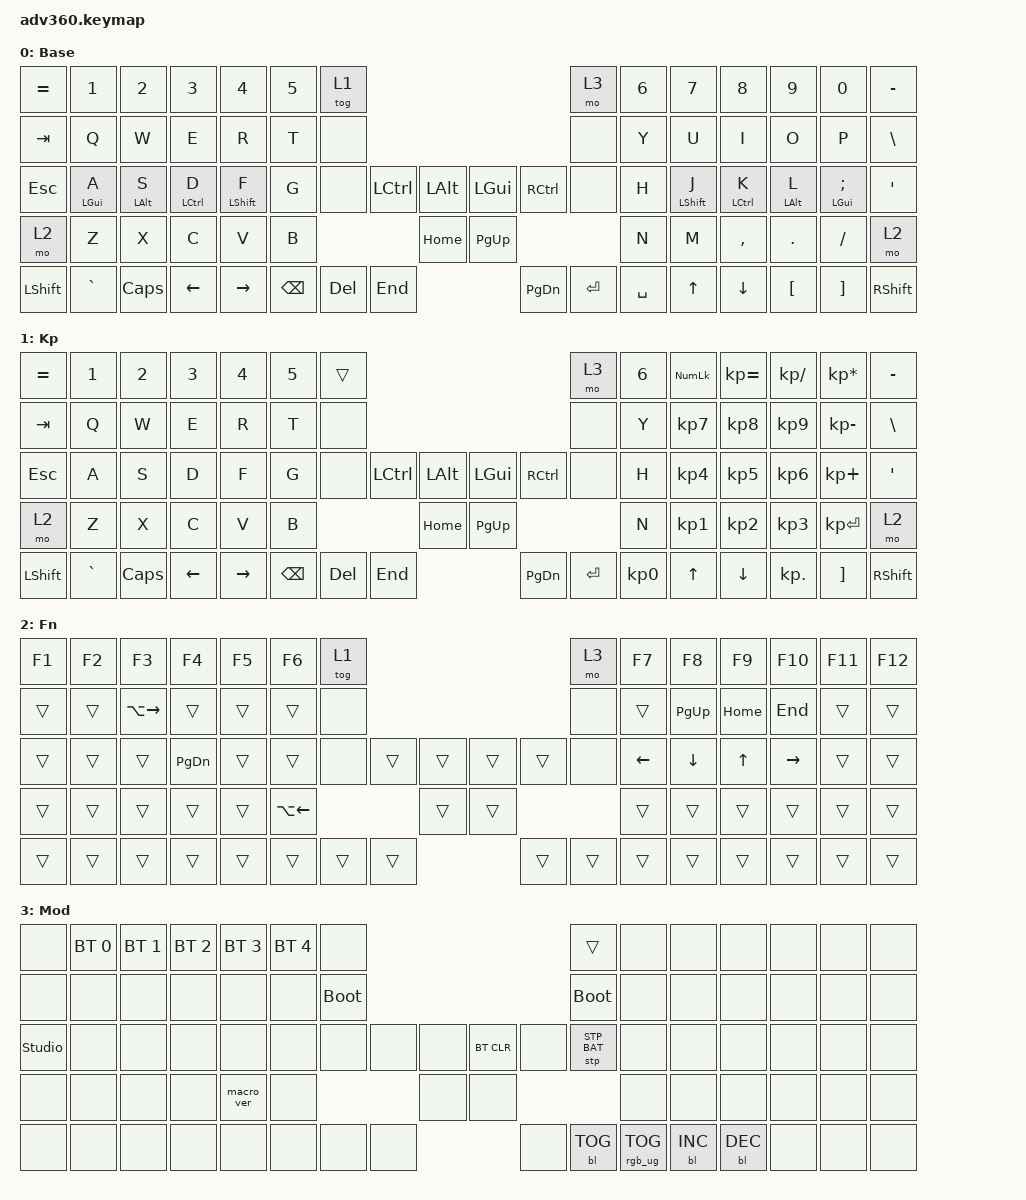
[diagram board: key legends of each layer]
#include <behaviors.dtsi>
#include <dt-bindings/zmk/keys.h>
#include <dt-bindings/zmk/bt.h>
#include <dt-bindings/zmk/rgb.h>
#include <dt-bindings/zmk/stp.h>
#include <dt-bindings/zmk/backlight.h>
#include <dt-bindings/zmk/pointing.h>

/ {
    behaviors {
      #include "macros.dtsi"
      #include "version.dtsi"

      hml: homerow_mods_left {
          compatible = "zmk,behavior-hold-tap";
          label = "HOMEROW_MODS_LEFT";
          #binding-cells = <2>;
          tapping-term-ms = <280>;
          quick-tap-ms = <175>;
          require-prior-idle-ms = <125>;
          flavor = "balanced";
          hold-trigger-key-positions = <7 8 9 10 11 12 13 21 22 23 24 25 26 27 37 38 39 40 41 42 43 44 45 53 54 55 56 57 58 59 68 69 70 71 72 73 74 75>;
          hold-trigger-on-release;
          bindings = <&kp>, <&kp>;
      };

      hmr: homerow_mods_right {
          compatible = "zmk,behavior-hold-tap";
          label = "HOMEROW_MODS_RIGHT";
          #binding-cells = <2>;
          tapping-term-ms = <280>;
          quick-tap-ms = <175>;
          require-prior-idle-ms = <125>;
          flavor = "balanced";
          hold-trigger-key-positions = <0 1 2 3 4 5 6 14 15 16 17 18 19 20 28 29 30 31 32 33 34 35 36 46 47 48 49 50 51 52 60 61 62 63 64 65 66 67>;
          hold-trigger-on-release;
          bindings = <&kp>, <&kp>;
      };
    };

  keymap {
    compatible = "zmk,keymap";

    default_layer {
      display-name = "Base";
      bindings = <
        &kp EQUAL &kp N1    &kp N2   &kp N3   &kp N4     &kp N5 &tog 1                                                           &mo 3 &kp N6 &kp N7 &kp N8    &kp N9   &kp N0   &kp MINUS
        &kp TAB   &kp Q     &kp W    &kp E    &kp R      &kp T  &none                                                            &none &kp Y  &kp U  &kp I     &kp O    &kp P    &kp BSLH
        &kp ESC   &hml LGUI A &hml LALT S &hml LCTRL D &hml LSHIFT F &kp G  &none           &kp LCTRL &kp LALT &kp LGUI  &kp RCTRL           &none &kp H  &hmr LSHIFT J &hmr LCTRL K &hmr LALT L &hmr LGUI SEMI &kp SQT
        &mo 2     &kp Z     &kp X    &kp C    &kp V      &kp B                            &kp HOME &kp PG_UP                           &kp N  &kp M  &kp COMMA &kp DOT  &kp FSLH &mo 2
        &kp LSHFT &kp GRAVE &kp CAPS &kp LEFT &kp RIGHT                &kp BSPC &kp DEL   &kp END  &kp PG_DN &kp ENTER &kp SPACE              &kp UP &kp DOWN  &kp LBKT &kp RBKT &kp RSHFT
      >;
    };
    keypad {
      display-name = "Kp";
      bindings = <
        &kp EQUAL &kp N1    &kp N2   &kp N3   &kp N4     &kp N5 &trans                                                           &mo 3 &kp N6 &kp KP_NUM &kp KP_EQUAL &kp KP_DIVIDE &kp KP_MULTIPLY &kp MINUS
        &kp TAB   &kp Q     &kp W    &kp E    &kp R      &kp T  &none                                                            &none &kp Y  &kp KP_N7  &kp KP_N8    &kp KP_N9     &kp KP_MINUS    &kp BSLH
        &kp ESC   &kp A     &kp S    &kp D    &kp F      &kp G  &none           &kp LCTRL &kp LALT &kp LGUI  &kp RCTRL           &none &kp H  &kp KP_N4  &kp KP_N5    &kp KP_N6     &kp KP_PLUS     &kp SQT
        &mo 2     &kp Z     &kp X    &kp C    &kp V      &kp B                            &kp HOME &kp PG_UP                           &kp N  &kp KP_N1  &kp KP_N2    &kp KP_N3     &kp KP_ENTER    &mo 2
        &kp LSHFT &kp GRAVE &kp CAPS &kp LEFT &kp RIGHT                &kp BSPC &kp DEL   &kp END  &kp PG_DN &kp ENTER &kp KP_N0              &kp UP     &kp DOWN     &kp KP_DOT    &kp RBKT        &kp RSHFT
      >;
    };
    fn {
      display-name = "Fn";
      bindings = <
        &kp F1 &kp F2 &kp F3 &kp F4 &kp F5 &kp F6 &tog 1                                           &mo 3 &kp F7 &kp F8 &kp F9 &kp F10 &kp F11 &kp F12
        &trans &trans &kp LA(RIGHT) &trans &trans &trans  &none                                           &none &trans &kp PG_UP &kp HOME &kp END  &trans  &trans
        &trans &trans &trans &kp PG_DN &trans &trans  &none        &trans &trans &trans &trans        &none &kp LEFT &kp DOWN &kp UP &kp RIGHT  &trans  &trans
        &trans &trans &trans &trans &trans &kp LA(LEFT)                      &trans &trans                     &trans &trans &trans &trans  &trans  &trans
        &trans &trans &trans &trans &trans               &trans &trans &trans &trans &trans &trans              &trans &trans &trans  &trans  &trans
      >;
    };
    mod {
      display-name = "Mod";
      bindings = <
        &none &bt BT_SEL 0 &bt BT_SEL 1 &bt BT_SEL 2 &bt BT_SEL 3 &bt BT_SEL 4 &none                                                                     &trans                 &none        &none        &none        &none &none &none
        &none &none        &none        &none        &none        &none        &bootloader                                                               &bootloader            &none        &none        &none        &none &none &none
        &studio_unlock &none        &none        &none        &none        &none        &none                   &none &none &bt BT_CLR &none                      &stp STP_BAT &none        &none        &none        &none &none &none
        &none &none        &none        &none        &macro_ver   &none                                      &none &none                                                        &none        &none        &none        &none &none &none
        &none &none        &none        &none        &none                                       &none &none &none &none      &bl BL_TOG &rgb_ug RGB_TOG                                     &bl BL_INC   &bl BL_DEC   &none &none &none
      >;
    };
    extra1 { 
      display-name = "Red";    
      status = "reserved";
    };

    extra2 { 
      display-name = "Purple";    
      status = "reserved";
    };

    extra3 { 
      display-name = "Cyan";    
      status = "reserved";
    };

    extra4 { 
      display-name = "Yellow";    
      status = "reserved";
    };
  };
};
